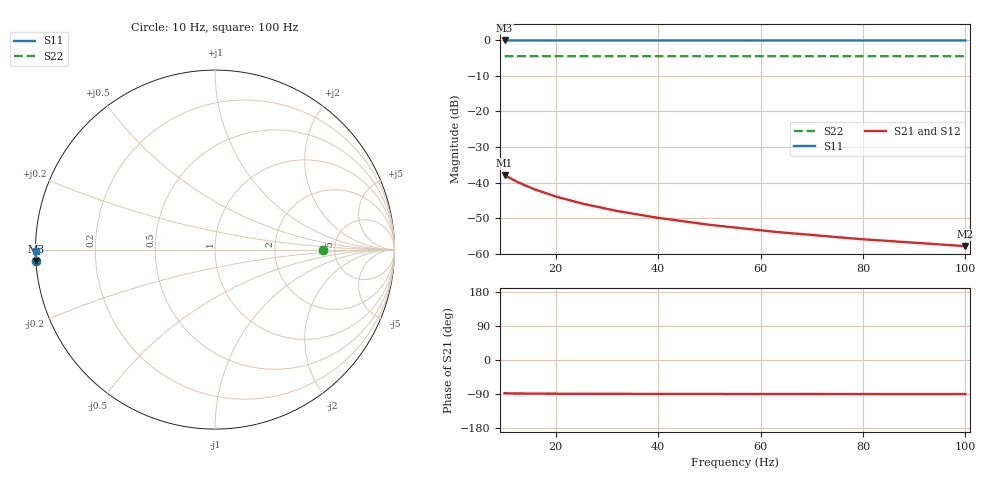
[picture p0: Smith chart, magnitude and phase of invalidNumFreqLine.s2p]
! Test invalid number of ports and number of frequencies
! String for two-port data order is also invalid
[Version] 2.0
# Hz Y RI R 50
[Number of Ports] -1
[Two-Port Data Order] 2_21
[Reference] 50
!  Freq  ReY11  ImY11  ReY12  ImY12  ReY21  ImY21  ReY22  ImY22
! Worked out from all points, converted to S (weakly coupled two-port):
!   11 points, 10 Hz to 100 Hz, reference 50 ohm
!   highest |S21| = -37.91 dB at 10 Hz (marker M1); lowest = -57.9 dB at 100 Hz (marker M2)
!   lowest |S11| = 0.0 dB at 10 Hz (marker M3)
!   |S11| at or under -10 dB: nowhere
!   |S22| runs from -4.4 to -4.4 dB; largest |S21 - S12| = 3.4e-17
[Number of Frequencies] 11
[Network Data]
10  0.0129 0.6281  -0.005 6.28e-05  -0.005 6.28e-05  0.005 6.53e-09
12.58925  0.0175 0.7907  -0.005 7.91e-05  -0.005 7.91e-05  0.005 8.22e-09
15.84893  0.0248 0.9952  -0.005 9.95e-05  -0.005 9.95e-05  0.005 1.03e-08
19.95262  0.0364 1.253  -0.005 0.000125  -0.005 0.000125  0.005 1.3e-08
25.11886  0.0548 1.576  -0.00499 0.000158  -0.00499 0.000158  0.005 1.64e-08
31.62278  0.0838 1.983  -0.00499 0.000198  -0.00499 0.000198  0.005 2.06e-08
39.81072  0.1298 2.495  -0.00499 0.000249  -0.00499 0.000249  0.005 2.59e-08
50.11872  0.2025 3.136  -0.00498 0.000314  -0.00498 0.000314  0.005 3.26e-08
63.09573  0.3173 3.939  -0.00497 0.000394  -0.00497 0.000394  0.005 4.1e-08
79.43282  0.4981 4.941  -0.00495 0.000494  -0.00495 0.000494  0.005 5.14e-08
100  0.7821 6.184  -0.00492 0.000618  -0.00492 0.000618  0.005 6.43e-08
[End]
